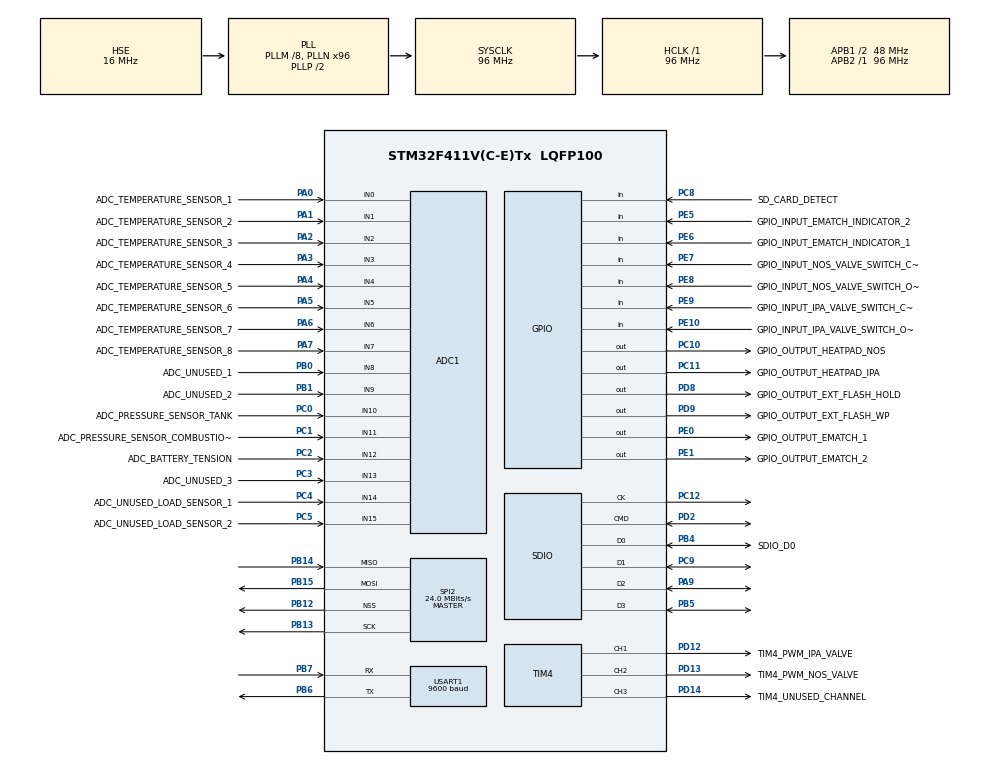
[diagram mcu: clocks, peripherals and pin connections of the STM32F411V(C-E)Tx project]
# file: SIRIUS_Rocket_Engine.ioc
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ADC1.Channel-0\#ChannelRegularConversion=ADC_CHANNEL_0
ADC1.Channel-1\#ChannelRegularConversion=ADC_CHANNEL_1
ADC1.Channel-10\#ChannelRegularConversion=ADC_CHANNEL_10
ADC1.Channel-11\#ChannelRegularConversion=ADC_CHANNEL_11
ADC1.Channel-12\#ChannelRegularConversion=ADC_CHANNEL_12
ADC1.Channel-13\#ChannelRegularConversion=ADC_CHANNEL_13
ADC1.Channel-14\#ChannelRegularConversion=ADC_CHANNEL_14
ADC1.Channel-15\#ChannelRegularConversion=ADC_CHANNEL_15
ADC1.Channel-2\#ChannelRegularConversion=ADC_CHANNEL_2
ADC1.Channel-3\#ChannelRegularConversion=ADC_CHANNEL_3
ADC1.Channel-4\#ChannelRegularConversion=ADC_CHANNEL_4
ADC1.Channel-5\#ChannelRegularConversion=ADC_CHANNEL_5
ADC1.Channel-6\#ChannelRegularConversion=ADC_CHANNEL_6
ADC1.Channel-7\#ChannelRegularConversion=ADC_CHANNEL_7
ADC1.Channel-8\#ChannelRegularConversion=ADC_CHANNEL_8
ADC1.Channel-9\#ChannelRegularConversion=ADC_CHANNEL_9
ADC1.ContinuousConvMode=ENABLE
ADC1.DMAContinuousRequests=ENABLE
ADC1.NbrOfConversion=16
ADC1.NbrOfConversionFlag=1
ADC1.Rank-0\#ChannelRegularConversion=1
ADC1.Rank-1\#ChannelRegularConversion=2
ADC1.Rank-10\#ChannelRegularConversion=11
ADC1.Rank-11\#ChannelRegularConversion=12
ADC1.Rank-12\#ChannelRegularConversion=13
ADC1.Rank-13\#ChannelRegularConversion=14
ADC1.Rank-14\#ChannelRegularConversion=15
ADC1.Rank-15\#ChannelRegularConversion=16
ADC1.Rank-2\#ChannelRegularConversion=3
ADC1.Rank-3\#ChannelRegularConversion=4
ADC1.Rank-4\#ChannelRegularConversion=5
ADC1.Rank-5\#ChannelRegularConversion=6
ADC1.Rank-6\#ChannelRegularConversion=7
ADC1.Rank-7\#ChannelRegularConversion=8
ADC1.Rank-8\#ChannelRegularConversion=9
ADC1.Rank-9\#ChannelRegularConversion=10
ADC1.SamplingTime-0\#ChannelRegularConversion=ADC_SAMPLETIME_144CYCLES
ADC1.SamplingTime-1\#ChannelRegularConversion=ADC_SAMPLETIME_144CYCLES
ADC1.SamplingTime-10\#ChannelRegularConversion=ADC_SAMPLETIME_144CYCLES
ADC1.SamplingTime-11\#ChannelRegularConversion=ADC_SAMPLETIME_144CYCLES
ADC1.SamplingTime-12\#ChannelRegularConversion=ADC_SAMPLETIME_144CYCLES
ADC1.SamplingTime-13\#ChannelRegularConversion=ADC_SAMPLETIME_144CYCLES
ADC1.SamplingTime-14\#ChannelRegularConversion=ADC_SAMPLETIME_144CYCLES
ADC1.SamplingTime-15\#ChannelRegularConversion=ADC_SAMPLETIME_144CYCLES
ADC1.SamplingTime-2\#ChannelRegularConversion=ADC_SAMPLETIME_144CYCLES
ADC1.SamplingTime-3\#ChannelRegularConversion=ADC_SAMPLETIME_144CYCLES
ADC1.SamplingTime-4\#ChannelRegularConversion=ADC_SAMPLETIME_144CYCLES
ADC1.SamplingTime-5\#ChannelRegularConversion=ADC_SAMPLETIME_144CYCLES
ADC1.SamplingTime-6\#ChannelRegularConversion=ADC_SAMPLETIME_144CYCLES
ADC1.SamplingTime-7\#ChannelRegularConversion=ADC_SAMPLETIME_144CYCLES
ADC1.SamplingTime-8\#ChannelRegularConversion=ADC_SAMPLETIME_144CYCLES
ADC1.SamplingTime-9\#ChannelRegularConversion=ADC_SAMPLETIME_144CYCLES
ADC1.ScanConvMode=ENABLE
ADC1.master=1
Dma.ADC1.0.Direction=DMA_PERIPH_TO_MEMORY
Dma.ADC1.0.FIFOMode=DMA_FIFOMODE_DISABLE
Dma.ADC1.0.Instance=DMA2_Stream0
Dma.ADC1.0.MemDataAlignment=DMA_MDATAALIGN_HALFWORD
Dma.ADC1.0.MemInc=DMA_MINC_ENABLE
Dma.ADC1.0.Mode=DMA_CIRCULAR
Dma.ADC1.0.PeriphDataAlignment=DMA_PDATAALIGN_HALFWORD
Dma.ADC1.0.PeriphInc=DMA_PINC_DISABLE
Dma.ADC1.0.Priority=DMA_PRIORITY_HIGH
Dma.Request0=ADC1
Dma.Request1=SDIO_RX
Dma.Request2=SDIO_TX
Dma.Request3=USART1_RX
Dma.Request4=USART1_TX
Dma.SDIO_RX.1.Direction=DMA_PERIPH_TO_MEMORY
Dma.SDIO_RX.1.FIFOMode=DMA_FIFOMODE_ENABLE
Dma.SDIO_RX.1.FIFOThreshold=DMA_FIFO_THRESHOLD_FULL
Dma.SDIO_RX.1.Instance=DMA2_Stream6
Dma.SDIO_RX.1.MemBurst=DMA_MBURST_INC4
Dma.SDIO_RX.1.MemDataAlignment=DMA_MDATAALIGN_WORD
Dma.SDIO_RX.1.MemInc=DMA_MINC_ENABLE
Dma.SDIO_RX.1.Mode=DMA_PFCTRL
Dma.SDIO_RX.1.PeriphBurst=DMA_PBURST_INC4
Dma.SDIO_RX.1.PeriphDataAlignment=DMA_PDATAALIGN_WORD
Dma.SDIO_RX.1.PeriphInc=DMA_PINC_DISABLE
Dma.SDIO_RX.1.Priority=DMA_PRIORITY_LOW
Dma.SDIO_TX.2.Direction=DMA_MEMORY_TO_PERIPH
Dma.SDIO_TX.2.FIFOMode=DMA_FIFOMODE_ENABLE
Dma.SDIO_TX.2.FIFOThreshold=DMA_FIFO_THRESHOLD_FULL
Dma.SDIO_TX.2.Instance=DMA2_Stream3
Dma.SDIO_TX.2.MemBurst=DMA_MBURST_INC4
Dma.SDIO_TX.2.MemDataAlignment=DMA_MDATAALIGN_WORD
Dma.SDIO_TX.2.MemInc=DMA_MINC_ENABLE
Dma.SDIO_TX.2.Mode=DMA_PFCTRL
Dma.SDIO_TX.2.PeriphBurst=DMA_PBURST_INC4
Dma.SDIO_TX.2.PeriphDataAlignment=DMA_PDATAALIGN_WORD
Dma.SDIO_TX.2.PeriphInc=DMA_PINC_DISABLE
Dma.SDIO_TX.2.Priority=DMA_PRIORITY_VERY_HIGH
Dma.USART1_RX.3.Direction=DMA_PERIPH_TO_MEMORY
Dma.USART1_RX.3.FIFOMode=DMA_FIFOMODE_DISABLE
Dma.USART1_RX.3.Instance=DMA2_Stream2
Dma.USART1_RX.3.MemDataAlignment=DMA_MDATAALIGN_BYTE
Dma.USART1_RX.3.MemInc=DMA_MINC_ENABLE
Dma.USART1_RX.3.Mode=DMA_NORMAL
Dma.USART1_RX.3.PeriphDataAlignment=DMA_PDATAALIGN_BYTE
Dma.USART1_RX.3.PeriphInc=DMA_PINC_DISABLE
Dma.USART1_RX.3.Priority=DMA_PRIORITY_VERY_HIGH
Dma.USART1_TX.4.Direction=DMA_MEMORY_TO_PERIPH
Dma.USART1_TX.4.FIFOMode=DMA_FIFOMODE_DISABLE
Dma.USART1_TX.4.Instance=DMA2_Stream7
Dma.USART1_TX.4.MemDataAlignment=DMA_MDATAALIGN_BYTE
Dma.USART1_TX.4.MemInc=DMA_MINC_ENABLE
Dma.USART1_TX.4.Mode=DMA_NORMAL
Dma.USART1_TX.4.PeriphDataAlignment=DMA_PDATAALIGN_BYTE
Dma.USART1_TX.4.PeriphInc=DMA_PINC_DISABLE
Dma.USART1_TX.4.Priority=DMA_PRIORITY_MEDIUM
FATFS.BSP.number=1
FATFS.USE_DMA_CODE_SD=1
FATFS._FS_EXFAT=0
FATFS._FS_LOCK=10
FATFS._FS_TIMEOUT=100
FATFS._MAX_LFN=50
FATFS._MAX_SS=512
FATFS._MIN_SS=512
FATFS._USE_LFN=2
FATFS0.BSP.STBoard=false
FATFS0.BSP.api=Unknown
FATFS0.BSP.instance=PC8
FATFS0.BSP.ip=GPIO
FATFS0.BSP.mode=Input
FATFS0.BSP.name=Detect_SDIO
FATFS0.BSP.solution=PC8
IWDG.Prescaler=IWDG_PRESCALER_256
Mcu.Family=STM32F4
Mcu.Name=STM32F411V(C-E)Tx
Mcu.Package=LQFP100
NVIC.DMA2_Stream0_IRQn=true\:0\:0\:false\:false\:true\:false\:true\:true
NVIC.DMA2_Stream2_IRQn=true\:0\:0\:false\:false\:true\:false\:true\:true
NVIC.DMA2_Stream3_IRQn=true\:0\:0\:false\:false\:true\:false\:true\:true
NVIC.DMA2_Stream6_IRQn=true\:0\:0\:false\:false\:true\:false\:true\:true
NVIC.DMA2_Stream7_IRQn=true\:0\:0\:false\:false\:true\:false\:true\:true
NVIC.PriorityGroup=NVIC_PRIORITYGROUP_4
NVIC.SDIO_IRQn=true\:0\:0\:false\:false\:true\:true\:true\:true
NVIC.USART1_IRQn=true\:0\:0\:false\:false\:true\:true\:true\:true
PA0-WKUP.GPIO_Label=ADC_TEMPERATURE_SENSOR_1
PA0-WKUP.Signal=ADCx_IN0
PA1.GPIO_Label=ADC_TEMPERATURE_SENSOR_2
PA1.Signal=ADCx_IN1
PA13.Mode=Serial_Wire
PA13.Signal=SYS_JTMS-SWDIO
PA14.Mode=Serial_Wire
PA14.Signal=SYS_JTCK-SWCLK
PA2.GPIO_Label=ADC_TEMPERATURE_SENSOR_3
PA2.Signal=ADCx_IN2
PA3.GPIO_Label=ADC_TEMPERATURE_SENSOR_4
PA3.Signal=ADCx_IN3
PA4.GPIO_Label=ADC_TEMPERATURE_SENSOR_5
PA4.Signal=ADCx_IN4
PA5.GPIO_Label=ADC_TEMPERATURE_SENSOR_6
PA5.Signal=ADCx_IN5
PA6.GPIO_Label=ADC_TEMPERATURE_SENSOR_7
PA6.Signal=ADCx_IN6
PA7.GPIO_Label=ADC_TEMPERATURE_SENSOR_8
PA7.Signal=ADCx_IN7
PA9.Mode=SD_4_bits_Wide_bus
PA9.Signal=SDIO_D2
PB0.GPIO_Label=ADC_UNUSED_1
PB0.Signal=ADCx_IN8
PB1.GPIO_Label=ADC_UNUSED_2
PB1.Signal=ADCx_IN9
PB12.Mode=NSS_Signal_Hard_Output
PB12.Signal=SPI2_NSS
PB13.Mode=Full_Duplex_Master
PB13.Signal=SPI2_SCK
PB14.Mode=Full_Duplex_Master
PB14.Signal=SPI2_MISO
PB15.Mode=Full_Duplex_Master
PB15.Signal=SPI2_MOSI
PB4.GPIO_Label=SDIO_D0
PB4.Mode=SD_4_bits_Wide_bus
PB4.Signal=SDIO_D0
PB5.Mode=SD_4_bits_Wide_bus
PB5.Signal=SDIO_D3
PB6.Mode=Asynchronous
PB6.Signal=USART1_TX
PB7.Mode=Asynchronous
PB7.Signal=USART1_RX
PC0.GPIO_Label=ADC_PRESSURE_SENSOR_TANK
PC0.Signal=ADCx_IN10
PC1.GPIO_Label=ADC_PRESSURE_SENSOR_COMBUSTION_CHAMBER
PC1.Signal=ADCx_IN11
PC10.GPIO_Label=GPIO_OUTPUT_HEATPAD_NOS
PC10.Signal=GPIO_Output
PC11.GPIO_Label=GPIO_OUTPUT_HEATPAD_IPA
PC11.Signal=GPIO_Output
PC12.Mode=SD_4_bits_Wide_bus
PC12.Signal=SDIO_CK
PC14-OSC32_IN.Mode=LSE-External-Clock-Source
PC14-OSC32_IN.Signal=RCC_OSC32_IN
PC15-OSC32_OUT.Mode=LSE-External-Clock-Source
PC15-OSC32_OUT.Signal=RCC_OSC32_OUT
PC2.GPIO_Label=ADC_BATTERY_TENSION
PC2.Signal=ADCx_IN12
PC3.GPIO_Label=ADC_UNUSED_3
PC3.Signal=ADCx_IN13
PC4.GPIO_Label=ADC_UNUSED_LOAD_SENSOR_1
PC4.Signal=ADCx_IN14
PC5.GPIO_Label=ADC_UNUSED_LOAD_SENSOR_2
PC5.Signal=ADCx_IN15
PC8.GPIO_Label=SD_CARD_DETECT
PC8.GPIO_PuPd=GPIO_PULLDOWN
PC8.Signal=GPIO_Input
PC9.Mode=SD_4_bits_Wide_bus
PC9.Signal=SDIO_D1
PD12.GPIO_Label=TIM4_PWM_IPA_VALVE
PD12.Signal=S_TIM4_CH1
PD13.GPIO_Label=TIM4_PWM_NOS_VALVE
PD13.Signal=S_TIM4_CH2
PD14.GPIO_Label=TIM4_UNUSED_CHANNEL
PD14.Signal=S_TIM4_CH3
PD2.Mode=SD_4_bits_Wide_bus
PD2.Signal=SDIO_CMD
PD8.GPIO_Label=GPIO_OUTPUT_EXT_FLASH_HOLD
PD8.PinState=GPIO_PIN_SET
PD8.Signal=GPIO_Output
PD9.GPIO_Label=GPIO_OUTPUT_EXT_FLASH_WP
PD9.PinState=GPIO_PIN_SET
PD9.Signal=GPIO_Output
PE0.GPIO_Label=GPIO_OUTPUT_EMATCH_1
PE0.GPIO_PuPd=GPIO_NOPULL
PE0.Signal=GPIO_Output
PE1.GPIO_Label=GPIO_OUTPUT_EMATCH_2
PE1.GPIO_PuPd=GPIO_NOPULL
PE1.Signal=GPIO_Output
PE10.GPIO_Label=GPIO_INPUT_IPA_VALVE_SWITCH_OPENED
PE10.Signal=GPIO_Input
PE5.GPIO_Label=GPIO_INPUT_EMATCH_INDICATOR_2
PE5.Signal=GPIO_Input
PE6.GPIO_Label=GPIO_INPUT_EMATCH_INDICATOR_1
PE6.Signal=GPIO_Input
PE7.GPIO_Label=GPIO_INPUT_NOS_VALVE_SWITCH_CLOSED
PE7.Signal=GPIO_Input
PE8.GPIO_Label=GPIO_INPUT_NOS_VALVE_SWITCH_OPENED
PE8.Signal=GPIO_Input
PE9.GPIO_Label=GPIO_INPUT_IPA_VALVE_SWITCH_CLOSED
PE9.Signal=GPIO_Input
PH0\ -\ OSC_IN.Mode=HSE-External-Oscillator
PH0\ -\ OSC_IN.Signal=RCC_OSC_IN
PH1\ -\ OSC_OUT.Mode=HSE-External-Oscillator
PH1\ -\ OSC_OUT.Signal=RCC_OSC_OUT
ProjectManager.HeapSize=0x1000
ProjectManager.StackSize=0x1800
ProjectManager.TargetToolchain=EWARM V8.50
RCC.48MHZClocksFreq_Value=48000000
RCC.AHBFreq_Value=96000000
RCC.APB1CLKDivider=RCC_HCLK_DIV2
RCC.APB1Freq_Value=48000000
RCC.APB1TimFreq_Value=96000000
RCC.APB2Freq_Value=96000000
RCC.APB2TimFreq_Value=96000000
RCC.CortexFreq_Value=96000000
RCC.HCLKFreq_Value=96000000
RCC.HSE_VALUE=16000000
RCC.HSI_VALUE=16000000
RCC.LSE_VALUE=32768
RCC.PLLM=8
RCC.PLLN=96
RCC.PLLSourceVirtual=RCC_PLLSOURCE_HSE
RCC.SYSCLKFreq_VALUE=96000000
RCC.SYSCLKSource=RCC_SYSCLKSOURCE_PLLCLK
RCC.VCOOutputFreq_Value=192000000
SDIO.ClockDiv=2
SDIO.HardwareFlowControl=SDIO_HARDWARE_FLOW_CONTROL_ENABLE
SH.ADCx_IN0.0=ADC1_IN0,IN0
SH.ADCx_IN1.0=ADC1_IN1,IN1
SH.ADCx_IN10.0=ADC1_IN10,IN10
SH.ADCx_IN11.0=ADC1_IN11,IN11
SH.ADCx_IN12.0=ADC1_IN12,IN12
SH.ADCx_IN13.0=ADC1_IN13,IN13
SH.ADCx_IN14.0=ADC1_IN14,IN14
SH.ADCx_IN15.0=ADC1_IN15,IN15
SH.ADCx_IN2.0=ADC1_IN2,IN2
SH.ADCx_IN3.0=ADC1_IN3,IN3
SH.ADCx_IN4.0=ADC1_IN4,IN4
SH.ADCx_IN5.0=ADC1_IN5,IN5
SH.ADCx_IN6.0=ADC1_IN6,IN6
SH.ADCx_IN7.0=ADC1_IN7,IN7
SH.ADCx_IN8.0=ADC1_IN8,IN8
SH.ADCx_IN9.0=ADC1_IN9,IN9
SH.S_TIM4_CH1.0=TIM4_CH1,PWM Generation1 CH1
SH.S_TIM4_CH2.0=TIM4_CH2,PWM Generation2 CH2
SH.S_TIM4_CH3.0=TIM4_CH3,PWM Generation3 CH3
SPI2.CalculateBaudRate=24.0 MBits/s
SPI2.Direction=SPI_DIRECTION_2LINES
SPI2.Mode=SPI_MODE_MASTER
SPI2.VirtualNSS=VM_NSSHARD
SPI2.VirtualType=VM_MASTER
TIM4.Channel-PWM\ Generation1\ CH1=TIM_CHANNEL_1
TIM4.Channel-PWM\ Generation2\ CH2=TIM_CHANNEL_2
TIM4.Channel-PWM\ Generation3\ CH3=TIM_CHANNEL_3
USART1.BaudRate=9600
USART1.VirtualMode=VM_ASYNC
VP_CRC_VS_CRC.Mode=CRC_Activate
VP_FATFS_VS_SDIO.Mode=SDIO
VP_IWDG_VS_IWDG.Mode=IWDG_Activate
VP_TIM4_VS_ClockSourceINT.Mode=Internal
board=custom

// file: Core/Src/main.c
/* USER CODE BEGIN Header */
/**
  ******************************************************************************
  * @file           : main.c
  * @brief          : Main program body
  ******************************************************************************
  * @attention
  *
  * Copyright (c) 2024 STMicroelectronics.
  * All rights reserved.
  *
  * This software is licensed under terms that can be found in the LICENSE file
  * in the root directory of this software component.
  * If no LICENSE file comes with this software, it is provided AS-IS.
  *
  ******************************************************************************
  */
/* USER CODE END Header */
#include "main.h"
#include "fatfs.h"

/* USER CODE BEGIN Includes */
#include "Engine.h"
/* USER CODE END Includes */

ADC_HandleTypeDef hadc1;
DMA_HandleTypeDef hdma_adc1;

CRC_HandleTypeDef hcrc;

IWDG_HandleTypeDef hiwdg;

SD_HandleTypeDef hsd;
DMA_HandleTypeDef hdma_sdio_rx;
DMA_HandleTypeDef hdma_sdio_tx;

SPI_HandleTypeDef hspi2;

TIM_HandleTypeDef htim4;

UART_HandleTypeDef huart1;
DMA_HandleTypeDef hdma_usart1_rx;
DMA_HandleTypeDef hdma_usart1_tx;

/* USER CODE BEGIN PV */
GPIO gpios[ENGINE_GPIO_AMOUNT] = {0};
ADC12 adc                      = {0};
PWM pwms[ENGINE_PWM_AMOUNT]    = {0};
UART uart                      = {0};

Valve valves[ENGINE_VALVE_AMOUNT]                                      = {0};
Igniter igniters[ENGINE_IGNITER_AMOUNT]                                = {0};
Heater heaters[ENGINE_HEATPAD_AMOUNT]                                  = {0};
PressureSensor pressureSensors[ENGINE_PRESSURE_SENSOR_AMOUNT]          = {0};
TemperatureSensor temperatureSensors[ENGINE_TEMPERATURE_SENSOR_AMOUNT] = {0};
Telecommunication telecomunication[ENGINE_TELECOMMUNICATION_AMOUNT]    = {0};

Storage storageDevices[ENGINE_STORAGE_AMOUNT] = {0};

static volatile EngineSDCardBuffer sdCardBuffer = {0};

/* USER CODE END PV */

void SystemClock_Config(void);
static void MX_GPIO_Init(void);
static void MX_DMA_Init(void);
static void MX_ADC1_Init(void);
static void MX_USART1_UART_Init(void);
static void MX_TIM4_Init(void);
static void MX_SDIO_SD_Init(void);
static void MX_SPI2_Init(void);
static void MX_CRC_Init(void);
static void MX_IWDG_Init(void);
/* USER CODE BEGIN PFP */

static void setupGPIOs();
static void setupPWMs();
static void setupADC();
static void setupUART();

static void setupValves();
static void setupIgniters();
static void setupHeaters();
static void setupTemperatureSensors();
static void setupPressureSensors();
static void setupTelecommunication();
static void setupStorageDevices();

/* USER CODE END PFP */

int main(void)
{

  /* MCU Configuration--------------------------------------------------------*/

  /* Reset of all peripherals, Initializes the Flash interface and the Systick. */
  HAL_Init();

  /* Configure the system clock */
  SystemClock_Config();

  /* Initialize all configured peripherals */
  MX_GPIO_Init();
  MX_DMA_Init();
  MX_ADC1_Init();
  MX_USART1_UART_Init();
  MX_TIM4_Init();
  MX_SDIO_SD_Init();
  MX_SPI2_Init();
  MX_FATFS_Init();
  MX_CRC_Init();
  MX_IWDG_Init();
  /* USER CODE BEGIN 2 */

  // Setup Peripherals
  setupADC();
  setupPWMs();
  setupGPIOs();
  setupUART();

  // Setup Sensors/Devices
  setupValves();
  setupIgniters();
  setupHeaters();
  setupPressureSensors();
  setupTemperatureSensors();
  setupTelecommunication();
  setupStorageDevices();

  Engine_init(pwms, &adc, gpios, &uart, valves, heaters, igniters, temperatureSensors, telecomunication, storageDevices, &sdCardBuffer, &hcrc);
  /* USER CODE END 2 */

  /* Infinite loop */
  /* USER CODE BEGIN WHILE */

  while (1)
  {
    HAL_IWDG_Refresh(&hiwdg);

    Engine_tick(HAL_GetTick());
    /* USER CODE END WHILE */

  }
}

void SystemClock_Config(void)
{
  RCC_OscInitTypeDef RCC_OscInitStruct = {0};
  RCC_ClkInitTypeDef RCC_ClkInitStruct = {0};

  /** Configure the main internal regulator output voltage
  */
  __HAL_RCC_PWR_CLK_ENABLE();
  __HAL_PWR_VOLTAGESCALING_CONFIG(PWR_REGULATOR_VOLTAGE_SCALE1);

  /** Initializes the RCC Oscillators according to the specified parameters
  * in the RCC_OscInitTypeDef structure.
  */
  RCC_OscInitStruct.OscillatorType = RCC_OSCILLATORTYPE_LSI|RCC_OSCILLATORTYPE_HSE;
  RCC_OscInitStruct.HSEState = RCC_HSE_ON;
  RCC_OscInitStruct.LSIState = RCC_LSI_ON;
  RCC_OscInitStruct.PLL.PLLState = RCC_PLL_ON;
  RCC_OscInitStruct.PLL.PLLSource = RCC_PLLSOURCE_HSE;
  RCC_OscInitStruct.PLL.PLLM = 8;
  RCC_OscInitStruct.PLL.PLLN = 96;
  RCC_OscInitStruct.PLL.PLLP = RCC_PLLP_DIV2;
  RCC_OscInitStruct.PLL.PLLQ = 4;
  if (HAL_RCC_OscConfig(&RCC_OscInitStruct) != HAL_OK)
  {
    Error_Handler();
  }

  /** Initializes the CPU, AHB and APB buses clocks
  */
  RCC_ClkInitStruct.ClockType = RCC_CLOCKTYPE_HCLK|RCC_CLOCKTYPE_SYSCLK
                              |RCC_CLOCKTYPE_PCLK1|RCC_CLOCKTYPE_PCLK2;
  RCC_ClkInitStruct.SYSCLKSource = RCC_SYSCLKSOURCE_PLLCLK;
  RCC_ClkInitStruct.AHBCLKDivider = RCC_SYSCLK_DIV1;
  RCC_ClkInitStruct.APB1CLKDivider = RCC_HCLK_DIV2;
  RCC_ClkInitStruct.APB2CLKDivider = RCC_HCLK_DIV1;

  if (HAL_RCC_ClockConfig(&RCC_ClkInitStruct, FLASH_LATENCY_3) != HAL_OK)
  {
    Error_Handler();
  }
}

static void MX_ADC1_Init(void)
{

  ADC_ChannelConfTypeDef sConfig = {0};

  /** Configure the global features of the ADC (Clock, Resolution, Data Alignment and number of conversion)
  */
  hadc1.Instance = ADC1;
  hadc1.Init.ClockPrescaler = ADC_CLOCK_SYNC_PCLK_DIV4;
  hadc1.Init.Resolution = ADC_RESOLUTION_12B;
  hadc1.Init.ScanConvMode = ENABLE;
  hadc1.Init.ContinuousConvMode = ENABLE;
  hadc1.Init.DiscontinuousConvMode = DISABLE;
  hadc1.Init.ExternalTrigConvEdge = ADC_EXTERNALTRIGCONVEDGE_NONE;
  hadc1.Init.ExternalTrigConv = ADC_SOFTWARE_START;
  hadc1.Init.DataAlign = ADC_DATAALIGN_RIGHT;
  hadc1.Init.NbrOfConversion = 16;
  hadc1.Init.DMAContinuousRequests = ENABLE;
  hadc1.Init.EOCSelection = ADC_EOC_SINGLE_CONV;
  if (HAL_ADC_Init(&hadc1) != HAL_OK)
  {
    Error_Handler();
  }

  /** Configure for the selected ADC regular channel its corresponding rank in the sequencer and its sample time.
  */
  sConfig.Channel = ADC_CHANNEL_0;
  sConfig.Rank = 1;
  sConfig.SamplingTime = ADC_SAMPLETIME_144CYCLES;
  if (HAL_ADC_ConfigChannel(&hadc1, &sConfig) != HAL_OK)
  {
    Error_Handler();
  }

  /** Configure for the selected ADC regular channel its corresponding rank in the sequencer and its sample time.
  */
  sConfig.Channel = ADC_CHANNEL_1;
  sConfig.Rank = 2;
  if (HAL_ADC_ConfigChannel(&hadc1, &sConfig) != HAL_OK)
  {
    Error_Handler();
  }

  /** Configure for the selected ADC regular channel its corresponding rank in the sequencer and its sample time.
  */
  sConfig.Channel = ADC_CHANNEL_2;
  sConfig.Rank = 3;
  if (HAL_ADC_ConfigChannel(&hadc1, &sConfig) != HAL_OK)
  {
    Error_Handler();
  }

  /** Configure for the selected ADC regular channel its corresponding rank in the sequencer and its sample time.
  */
  sConfig.Channel = ADC_CHANNEL_3;
  sConfig.Rank = 4;
  if (HAL_ADC_ConfigChannel(&hadc1, &sConfig) != HAL_OK)
  {
    Error_Handler();
  }

  /** Configure for the selected ADC regular channel its corresponding rank in the sequencer and its sample time.
  */
  sConfig.Channel = ADC_CHANNEL_4;
  sConfig.Rank = 5;
  if (HAL_ADC_ConfigChannel(&hadc1, &sConfig) != HAL_OK)
  {
    Error_Handler();
  }

  /** Configure for the selected ADC regular channel its corresponding rank in the sequencer and its sample time.
  */
  sConfig.Channel = ADC_CHANNEL_5;
  sConfig.Rank = 6;
  if (HAL_ADC_ConfigChannel(&hadc1, &sConfig) != HAL_OK)
  {
    Error_Handler();
  }

  /** Configure for the selected ADC regular channel its corresponding rank in the sequencer and its sample time.
  */
  sConfig.Channel = ADC_CHANNEL_6;
  sConfig.Rank = 7;
  if (HAL_ADC_ConfigChannel(&hadc1, &sConfig) != HAL_OK)
  {
    Error_Handler();
  }

  /** Configure for the selected ADC regular channel its corresponding rank in the sequencer and its sample time.
  */
  sConfig.Channel = ADC_CHANNEL_7;
  sConfig.Rank = 8;
  if (HAL_ADC_ConfigChannel(&hadc1, &sConfig) != HAL_OK)
  {
    Error_Handler();
  }

  /** Configure for the selected ADC regular channel its corresponding rank in the sequencer and its sample time.
  */
  sConfig.Channel = ADC_CHANNEL_8;
  sConfig.Rank = 9;
  if (HAL_ADC_ConfigChannel(&hadc1, &sConfig) != HAL_OK)
  {
    Error_Handler();
  }

  /** Configure for the selected ADC regular channel its corresponding rank in the sequencer and its sample time.
  */
  sConfig.Channel = ADC_CHANNEL_9;
  sConfig.Rank = 10;
  if (HAL_ADC_ConfigChannel(&hadc1, &sConfig) != HAL_OK)
  {
    Error_Handler();
  }

  /** Configure for the selected ADC regular channel its corresponding rank in the sequencer and its sample time.
  */
  sConfig.Channel = ADC_CHANNEL_10;
  sConfig.Rank = 11;
  if (HAL_ADC_ConfigChannel(&hadc1, &sConfig) != HAL_OK)
  {
    Error_Handler();
  }

  /** Configure for the selected ADC regular channel its corresponding rank in the sequencer and its sample time.
  */
  sConfig.Channel = ADC_CHANNEL_11;
  sConfig.Rank = 12;
  if (HAL_ADC_ConfigChannel(&hadc1, &sConfig) != HAL_OK)
  {
    Error_Handler();
  }

  /** Configure for the selected ADC regular channel its corresponding rank in the sequencer and its sample time.
  */
  sConfig.Channel = ADC_CHANNEL_12;
  sConfig.Rank = 13;
  if (HAL_ADC_ConfigChannel(&hadc1, &sConfig) != HAL_OK)
  {
    Error_Handler();
  }

  /** Configure for the selected ADC regular channel its corresponding rank in the sequencer and its sample time.
  */
  sConfig.Channel = ADC_CHANNEL_13;
  sConfig.Rank = 14;
  if (HAL_ADC_ConfigChannel(&hadc1, &sConfig) != HAL_OK)
  {
    Error_Handler();
  }

  /** Configure for the selected ADC regular channel its corresponding rank in the sequencer and its sample time.
  */
  sConfig.Channel = ADC_CHANNEL_14;
  sConfig.Rank = 15;
  if (HAL_ADC_ConfigChannel(&hadc1, &sConfig) != HAL_OK)
  {
    Error_Handler();
  }

  /** Configure for the selected ADC regular channel its corresponding rank in the sequencer and its sample time.
  */
  sConfig.Channel = ADC_CHANNEL_15;
  sConfig.Rank = 16;
  if (HAL_ADC_ConfigChannel(&hadc1, &sConfig) != HAL_OK)
  {
    Error_Handler();
  }

}

static void MX_CRC_Init(void)
{

  hcrc.Instance = CRC;
  if (HAL_CRC_Init(&hcrc) != HAL_OK)
  {
    Error_Handler();
  }

}

static void MX_IWDG_Init(void)
{

  hiwdg.Instance = IWDG;
  hiwdg.Init.Prescaler = IWDG_PRESCALER_256;
  hiwdg.Init.Reload = 4095;
  if (HAL_IWDG_Init(&hiwdg) != HAL_OK)
  {
    Error_Handler();
  }

}

static void MX_SDIO_SD_Init(void)
{

  hsd.Instance = SDIO;
  hsd.Init.ClockEdge = SDIO_CLOCK_EDGE_RISING;
  hsd.Init.ClockBypass = SDIO_CLOCK_BYPASS_DISABLE;
  hsd.Init.ClockPowerSave = SDIO_CLOCK_POWER_SAVE_DISABLE;
  hsd.Init.BusWide = SDIO_BUS_WIDE_4B;
  hsd.Init.HardwareFlowControl = SDIO_HARDWARE_FLOW_CONTROL_ENABLE;
  hsd.Init.ClockDiv = 2;
  /* USER CODE BEGIN SDIO_Init 2 */

  hsd.Init.BusWide = SDIO_BUS_WIDE_1B;
  if (HAL_SD_Init(&hsd) != HAL_OK) {
    Error_Handler();
  }

  if (HAL_SD_ConfigWideBusOperation(&hsd, SDIO_BUS_WIDE_4B) != HAL_OK) {
    Error_Handler();
  }
  /* USER CODE END SDIO_Init 2 */

}

static void MX_SPI2_Init(void)
{

  /* SPI2 parameter configuration*/
  hspi2.Instance = SPI2;
  hspi2.Init.Mode = SPI_MODE_MASTER;
  hspi2.Init.Direction = SPI_DIRECTION_2LINES;
  hspi2.Init.DataSize = SPI_DATASIZE_8BIT;
  hspi2.Init.CLKPolarity = SPI_POLARITY_LOW;
  hspi2.Init.CLKPhase = SPI_PHASE_1EDGE;
  hspi2.Init.NSS = SPI_NSS_HARD_OUTPUT;
  hspi2.Init.BaudRatePrescaler = SPI_BAUDRATEPRESCALER_2;
  hspi2.Init.FirstBit = SPI_FIRSTBIT_MSB;
  hspi2.Init.TIMode = SPI_TIMODE_DISABLE;
  hspi2.Init.CRCCalculation = SPI_CRCCALCULATION_DISABLE;
  hspi2.Init.CRCPolynomial = 10;
  if (HAL_SPI_Init(&hspi2) != HAL_OK)
  {
    Error_Handler();
  }

}

static void MX_TIM4_Init(void)
{

  TIM_ClockConfigTypeDef sClockSourceConfig = {0};
  TIM_MasterConfigTypeDef sMasterConfig = {0};
  TIM_OC_InitTypeDef sConfigOC = {0};

  htim4.Instance = TIM4;
  htim4.Init.Prescaler = 0;
  htim4.Init.CounterMode = TIM_COUNTERMODE_UP;
  htim4.Init.Period = 65535;
  htim4.Init.ClockDivision = TIM_CLOCKDIVISION_DIV1;
  htim4.Init.AutoReloadPreload = TIM_AUTORELOAD_PRELOAD_DISABLE;
  if (HAL_TIM_Base_Init(&htim4) != HAL_OK)
  {
    Error_Handler();
  }
  sClockSourceConfig.ClockSource = TIM_CLOCKSOURCE_INTERNAL;
  if (HAL_TIM_ConfigClockSource(&htim4, &sClockSourceConfig) != HAL_OK)
  {
    Error_Handler();
  }
  if (HAL_TIM_PWM_Init(&htim4) != HAL_OK)
  {
    Error_Handler();
  }
  sMasterConfig.MasterOutputTrigger = TIM_TRGO_RESET;
  sMasterConfig.MasterSlaveMode = TIM_MASTERSLAVEMODE_DISABLE;
  if (HAL_TIMEx_MasterConfigSynchronization(&htim4, &sMasterConfig) != HAL_OK)
  {
    Error_Handler();
  }
  sConfigOC.OCMode = TIM_OCMODE_PWM1;
  sConfigOC.Pulse = 0;
  sConfigOC.OCPolarity = TIM_OCPOLARITY_HIGH;
  sConfigOC.OCFastMode = TIM_OCFAST_DISABLE;
  if (HAL_TIM_PWM_ConfigChannel(&htim4, &sConfigOC, TIM_CHANNEL_1) != HAL_OK)
  {
    Error_Handler();
  }
  if (HAL_TIM_PWM_ConfigChannel(&htim4, &sConfigOC, TIM_CHANNEL_2) != HAL_OK)
  {
    Error_Handler();
  }
  if (HAL_TIM_PWM_ConfigChannel(&htim4, &sConfigOC, TIM_CHANNEL_3) != HAL_OK)
  {
    Error_Handler();
  }
  HAL_TIM_MspPostInit(&htim4);

}

static void MX_USART1_UART_Init(void)
{

  huart1.Instance = USART1;
  huart1.Init.BaudRate = 9600;
  huart1.Init.WordLength = UART_WORDLENGTH_8B;
  huart1.Init.StopBits = UART_STOPBITS_1;
  huart1.Init.Parity = UART_PARITY_NONE;
  huart1.Init.Mode = UART_MODE_TX_RX;
  huart1.Init.HwFlowCtl = UART_HWCONTROL_NONE;
  huart1.Init.OverSampling = UART_OVERSAMPLING_16;
  if (HAL_UART_Init(&huart1) != HAL_OK)
  {
    Error_Handler();
  }

}

static void MX_DMA_Init(void)
{

  /* DMA controller clock enable */
  __HAL_RCC_DMA2_CLK_ENABLE();

  /* DMA interrupt init */
  /* DMA2_Stream0_IRQn interrupt configuration */
  HAL_NVIC_SetPriority(DMA2_Stream0_IRQn, 0, 0);
  HAL_NVIC_EnableIRQ(DMA2_Stream0_IRQn);
  /* DMA2_Stream2_IRQn interrupt configuration */
  HAL_NVIC_SetPriority(DMA2_Stream2_IRQn, 0, 0);
  HAL_NVIC_EnableIRQ(DMA2_Stream2_IRQn);
  /* DMA2_Stream3_IRQn interrupt configuration */
  HAL_NVIC_SetPriority(DMA2_Stream3_IRQn, 0, 0);
  HAL_NVIC_EnableIRQ(DMA2_Stream3_IRQn);
  /* DMA2_Stream6_IRQn interrupt configuration */
  HAL_NVIC_SetPriority(DMA2_Stream6_IRQn, 0, 0);
  HAL_NVIC_EnableIRQ(DMA2_Stream6_IRQn);
  /* DMA2_Stream7_IRQn interrupt configuration */
  HAL_NVIC_SetPriority(DMA2_Stream7_IRQn, 0, 0);
  HAL_NVIC_EnableIRQ(DMA2_Stream7_IRQn);

}

static void MX_GPIO_Init(void)
{
  GPIO_InitTypeDef GPIO_InitStruct = {0};

  /* GPIO Ports Clock Enable */
  __HAL_RCC_GPIOE_CLK_ENABLE();
  __HAL_RCC_GPIOC_CLK_ENABLE();
  __HAL_RCC_GPIOH_CLK_ENABLE();
  __HAL_RCC_GPIOA_CLK_ENABLE();
  __HAL_RCC_GPIOB_CLK_ENABLE();
  __HAL_RCC_GPIOD_CLK_ENABLE();

  /*Configure GPIO pin Output Level */
  HAL_GPIO_WritePin(GPIOD, GPIO_OUTPUT_EXT_FLASH_HOLD_Pin|GPIO_OUTPUT_EXT_FLASH_WP_Pin, GPIO_PIN_SET);

  /*Configure GPIO pin Output Level */
  HAL_GPIO_WritePin(GPIOC, GPIO_OUTPUT_HEATPAD_NOS_Pin|GPIO_OUTPUT_HEATPAD_IPA_Pin, GPIO_PIN_RESET);

  /*Configure GPIO pin Output Level */
  HAL_GPIO_WritePin(GPIOE, GPIO_OUTPUT_EMATCH_1_Pin|GPIO_OUTPUT_EMATCH_2_Pin, GPIO_PIN_RESET);

  /*Configure GPIO pins : GPIO_INPUT_EMATCH_INDICATOR_2_Pin GPIO_INPUT_EMATCH_INDICATOR_1_Pin GPIO_INPUT_NOS_VALVE_SWITCH_CLOSED_Pin GPIO_INPUT_NOS_VALVE_SWITCH_OPENED_Pin
                           GPIO_INPUT_IPA_VALVE_SWITCH_CLOSED_Pin GPIO_INPUT_IPA_VALVE_SWITCH_OPENED_Pin */
  GPIO_InitStruct.Pin = GPIO_INPUT_EMATCH_INDICATOR_2_Pin|GPIO_INPUT_EMATCH_INDICATOR_1_Pin|GPIO_INPUT_NOS_VALVE_SWITCH_CLOSED_Pin|GPIO_INPUT_NOS_VALVE_SWITCH_OPENED_Pin
                          |GPIO_INPUT_IPA_VALVE_SWITCH_CLOSED_Pin|GPIO_INPUT_IPA_VALVE_SWITCH_OPENED_Pin;
  GPIO_InitStruct.Mode = GPIO_MODE_INPUT;
  GPIO_InitStruct.Pull = GPIO_NOPULL;
  HAL_GPIO_Init(GPIOE, &GPIO_InitStruct);

  /*Configure GPIO pins : GPIO_OUTPUT_EXT_FLASH_HOLD_Pin GPIO_OUTPUT_EXT_FLASH_WP_Pin */
  GPIO_InitStruct.Pin = GPIO_OUTPUT_EXT_FLASH_HOLD_Pin|GPIO_OUTPUT_EXT_FLASH_WP_Pin;
  GPIO_InitStruct.Mode = GPIO_MODE_OUTPUT_PP;
  GPIO_InitStruct.Pull = GPIO_NOPULL;
  GPIO_InitStruct.Speed = GPIO_SPEED_FREQ_LOW;
  HAL_GPIO_Init(GPIOD, &GPIO_InitStruct);

  /*Configure GPIO pin : SD_CARD_DETECT_Pin */
  GPIO_InitStruct.Pin = SD_CARD_DETECT_Pin;
  GPIO_InitStruct.Mode = GPIO_MODE_INPUT;
  GPIO_InitStruct.Pull = GPIO_PULLDOWN;
  HAL_GPIO_Init(SD_CARD_DETECT_GPIO_Port, &GPIO_InitStruct);

  /*Configure GPIO pins : GPIO_OUTPUT_HEATPAD_NOS_Pin GPIO_OUTPUT_HEATPAD_IPA_Pin */
  GPIO_InitStruct.Pin = GPIO_OUTPUT_HEATPAD_NOS_Pin|GPIO_OUTPUT_HEATPAD_IPA_Pin;
  GPIO_InitStruct.Mode = GPIO_MODE_OUTPUT_PP;
  GPIO_InitStruct.Pull = GPIO_NOPULL;
  GPIO_InitStruct.Speed = GPIO_SPEED_FREQ_LOW;
  HAL_GPIO_Init(GPIOC, &GPIO_InitStruct);

  /*Configure GPIO pins : GPIO_OUTPUT_EMATCH_1_Pin GPIO_OUTPUT_EMATCH_2_Pin */
  GPIO_InitStruct.Pin = GPIO_OUTPUT_EMATCH_1_Pin|GPIO_OUTPUT_EMATCH_2_Pin;
  GPIO_InitStruct.Mode = GPIO_MODE_OUTPUT_PP;
  GPIO_InitStruct.Pull = GPIO_NOPULL;
  GPIO_InitStruct.Speed = GPIO_SPEED_FREQ_LOW;
  HAL_GPIO_Init(GPIOE, &GPIO_InitStruct);

}

/* USER CODE BEGIN 4 */

uint8_t BSP_SD_IsDetected(void) {
  __IO uint8_t status = SD_PRESENT;

  return status;
}

// These should only link HAL to instance and set base function pointers

void setupGPIOs() {
  gpios[ENGINE_IGNITER_1_GPIO_INDEX].errorStatus.bits.notInitialized = 1;
  gpios[ENGINE_IGNITER_1_GPIO_INDEX].externalHandle = GPIOE;
  gpios[ENGINE_IGNITER_1_GPIO_INDEX].pinNumber = GPIO_PIN_0;
  gpios[ENGINE_IGNITER_1_GPIO_INDEX].mode = GPIO_OUTPUT_MODE;
  gpios[ENGINE_IGNITER_1_GPIO_INDEX].init = (GPIO_init)GPIOHAL_init;

  gpios[ENGINE_IGNITER_2_GPIO_INDEX].errorStatus.bits.notInitialized = 1;
  gpios[ENGINE_IGNITER_2_GPIO_INDEX].externalHandle = GPIOE;
  gpios[ENGINE_IGNITER_2_GPIO_INDEX].pinNumber = GPIO_PIN_1;
  gpios[ENGINE_IGNITER_2_GPIO_INDEX].mode = GPIO_OUTPUT_MODE;
  gpios[ENGINE_IGNITER_2_GPIO_INDEX].init = (GPIO_init)GPIOHAL_init;

  gpios[ENGINE_NOS_VALVE_CLOSED_GPIO_INDEX].errorStatus.bits.notInitialized = 1;
  gpios[ENGINE_NOS_VALVE_CLOSED_GPIO_INDEX].externalHandle = GPIOE;
  gpios[ENGINE_NOS_VALVE_CLOSED_GPIO_INDEX].pinNumber = GPIO_PIN_10;
  gpios[ENGINE_NOS_VALVE_CLOSED_GPIO_INDEX].mode = GPIO_INPUT_MODE;
  gpios[ENGINE_NOS_VALVE_CLOSED_GPIO_INDEX].init = (GPIO_init)GPIOHAL_init;

  gpios[ENGINE_NOS_VALVE_OPENED_GPIO_INDEX].errorStatus.bits.notInitialized = 1;
  gpios[ENGINE_NOS_VALVE_OPENED_GPIO_INDEX].externalHandle = GPIOE;
  gpios[ENGINE_NOS_VALVE_OPENED_GPIO_INDEX].pinNumber = GPIO_PIN_9;
  gpios[ENGINE_NOS_VALVE_OPENED_GPIO_INDEX].mode = GPIO_INPUT_MODE;
  gpios[ENGINE_NOS_VALVE_OPENED_GPIO_INDEX].init = (GPIO_init)GPIOHAL_init;

  gpios[ENGINE_IPA_VALVE_CLOSED_GPIO_INDEX].errorStatus.bits.notInitialized = 1;
  gpios[ENGINE_IPA_VALVE_CLOSED_GPIO_INDEX].externalHandle = GPIOE;
  gpios[ENGINE_IPA_VALVE_CLOSED_GPIO_INDEX].pinNumber = GPIO_PIN_7;
  gpios[ENGINE_IPA_VALVE_CLOSED_GPIO_INDEX].mode = GPIO_INPUT_MODE;
  gpios[ENGINE_IPA_VALVE_CLOSED_GPIO_INDEX].init = (GPIO_init)GPIOHAL_init;

  gpios[ENGINE_IPA_VALVE_OPENED_GPIO_INDEX].errorStatus.bits.notInitialized = 1;
  gpios[ENGINE_IPA_VALVE_OPENED_GPIO_INDEX].externalHandle = GPIOE;
  gpios[ENGINE_IPA_VALVE_OPENED_GPIO_INDEX].pinNumber = GPIO_PIN_8;
  gpios[ENGINE_IPA_VALVE_OPENED_GPIO_INDEX].mode = GPIO_INPUT_MODE;
  gpios[ENGINE_IPA_VALVE_OPENED_GPIO_INDEX].init = (GPIO_init)GPIOHAL_init;

  gpios[ENGINE_IGNITER_1_GPIO_INDEX].errorStatus.bits.notInitialized = 1;
  gpios[ENGINE_IGNITER_1_GPIO_INDEX].externalHandle = GPIOE;
  gpios[ENGINE_IGNITER_1_GPIO_INDEX].pinNumber = GPIO_PIN_0;
  gpios[ENGINE_IGNITER_1_GPIO_INDEX].mode = GPIO_OUTPUT_MODE;
  gpios[ENGINE_IGNITER_1_GPIO_INDEX].init = (GPIO_init)GPIOHAL_init;

  gpios[ENGINE_IGNITER_2_GPIO_INDEX].errorStatus.bits.notInitialized = 1;
  gpios[ENGINE_IGNITER_2_GPIO_INDEX].externalHandle = GPIOE;
  gpios[ENGINE_IGNITER_2_GPIO_INDEX].pinNumber = GPIO_PIN_1;
  gpios[ENGINE_IGNITER_2_GPIO_INDEX].mode = GPIO_OUTPUT_MODE;
  gpios[ENGINE_IGNITER_2_GPIO_INDEX].init = (GPIO_init)GPIOHAL_init;

  gpios[ENGINE_NOS_HEATPAD_GPIO_INDEX].errorStatus.bits.notInitialized = 1;
  gpios[ENGINE_NOS_HEATPAD_GPIO_INDEX].externalHandle = GPIOC;
  gpios[ENGINE_NOS_HEATPAD_GPIO_INDEX].pinNumber = GPIO_PIN_10;
  gpios[ENGINE_NOS_HEATPAD_GPIO_INDEX].mode = GPIO_OUTPUT_MODE;
  gpios[ENGINE_NOS_HEATPAD_GPIO_INDEX].init = (GPIO_init)GPIOHAL_init;

  gpios[ENGINE_IPA_HEATPAD_GPIO_INDEX].errorStatus.bits.notInitialized = 1;
  gpios[ENGINE_IPA_HEATPAD_GPIO_INDEX].externalHandle = GPIOC;
  gpios[ENGINE_IPA_HEATPAD_GPIO_INDEX].pinNumber = GPIO_PIN_11;
  gpios[ENGINE_IPA_HEATPAD_GPIO_INDEX].mode = GPIO_OUTPUT_MODE;
  gpios[ENGINE_IPA_HEATPAD_GPIO_INDEX].init = (GPIO_init)GPIOHAL_init;
}

void setupPWMs() {
  pwms[ENGINE_IPA_VALVE_PWM_INDEX].errorStatus.bits.notInitialized = 1;
  pwms[ENGINE_IPA_VALVE_PWM_INDEX].init = (PWM_init)PWMHAL_init;
  pwms[ENGINE_IPA_VALVE_PWM_INDEX].externalHandle = &htim4;
  pwms[ENGINE_IPA_VALVE_PWM_INDEX].timer = TIM4;
  pwms[ENGINE_IPA_VALVE_PWM_INDEX].channel = TIM_CHANNEL_2;

  pwms[ENGINE_NOS_VALVE_PWM_INDEX].errorStatus.bits.notInitialized = 1;
  pwms[ENGINE_NOS_VALVE_PWM_INDEX].init = (PWM_init)PWMHAL_init;
  pwms[ENGINE_NOS_VALVE_PWM_INDEX].externalHandle = &htim4;
  pwms[ENGINE_NOS_VALVE_PWM_INDEX].timer = TIM4;
  pwms[ENGINE_NOS_VALVE_PWM_INDEX].channel = TIM_CHANNEL_3;
}

void setupADC() {
  adc.errorStatus.bits.notInitialized = 1;
  adc.init = (ADC12_init)ADC12HAL_init;
  adc.externalHandle = &hadc1;

  adc.channels[ENGINE_IPA_MAIN_VALVE_THERMISTANCE_ADC_CHANNEL_INDEX].errorStatus.bits.notInitialized = 1;
  adc.channels[ENGINE_IPA_MAIN_VALVE_THERMISTANCE_ADC_CHANNEL_INDEX].init = (ADC12Channel_init)ADC12ChannelHAL_init;
  adc.channels[ENGINE_IPA_MAIN_VALVE_THERMISTANCE_ADC_CHANNEL_INDEX].rank = 1;
  adc.channels[ENGINE_IPA_MAIN_VALVE_THERMISTANCE_ADC_CHANNEL_INDEX].sampleTime_adcClockCyles = ADC_SAMPLETIME_28CYCLES;
  adc.channels[ENGINE_IPA_MAIN_VALVE_THERMISTANCE_ADC_CHANNEL_INDEX].channelNumber = 0;

  adc.channels[ENGINE_NOS_MAIN_VALVE_THERMISTANCE_ADC_CHANNEL_INDEX].errorStatus.bits.notInitialized = 1;
  adc.channels[ENGINE_NOS_MAIN_VALVE_THERMISTANCE_ADC_CHANNEL_INDEX].init = (ADC12Channel_init)ADC12ChannelHAL_init;
  adc.channels[ENGINE_NOS_MAIN_VALVE_THERMISTANCE_ADC_CHANNEL_INDEX].rank = 2;
  adc.channels[ENGINE_NOS_MAIN_VALVE_THERMISTANCE_ADC_CHANNEL_INDEX].sampleTime_adcClockCyles = ADC_SAMPLETIME_28CYCLES;
  adc.channels[ENGINE_NOS_MAIN_VALVE_THERMISTANCE_ADC_CHANNEL_INDEX].channelNumber = 1;

  adc.channels[ENGINE_NOZZLE_1_THERMISTANCE_ADC_CHANNEL_INDEX].errorStatus.bits.notInitialized = 1;
  adc.channels[ENGINE_NOZZLE_1_THERMISTANCE_ADC_CHANNEL_INDEX].init = (ADC12Channel_init)ADC12ChannelHAL_init;
  adc.channels[ENGINE_NOZZLE_1_THERMISTANCE_ADC_CHANNEL_INDEX].rank = 3;
  adc.channels[ENGINE_NOZZLE_1_THERMISTANCE_ADC_CHANNEL_INDEX].sampleTime_adcClockCyles = ADC_SAMPLETIME_28CYCLES;
  adc.channels[ENGINE_NOZZLE_1_THERMISTANCE_ADC_CHANNEL_INDEX].channelNumber = 2;

  adc.channels[ENGINE_NOZZLE_2_THERMISTANCE_ADC_CHANNEL_INDEX].errorStatus.bits.notInitialized = 1;
  adc.channels[ENGINE_NOZZLE_2_THERMISTANCE_ADC_CHANNEL_INDEX].init = (ADC12Channel_init)ADC12ChannelHAL_init;
  adc.channels[ENGINE_NOZZLE_2_THERMISTANCE_ADC_CHANNEL_INDEX].rank = 4;
  adc.channels[ENGINE_NOZZLE_2_THERMISTANCE_ADC_CHANNEL_INDEX].sampleTime_adcClockCyles = ADC_SAMPLETIME_28CYCLES;
  adc.channels[ENGINE_NOZZLE_2_THERMISTANCE_ADC_CHANNEL_INDEX].channelNumber = 3;

  adc.channels[ENGINE_THROAT_1_THERMISTANCE_ADC_CHANNEL_INDEX].errorStatus.bits.notInitialized = 1;
  adc.channels[ENGINE_THROAT_1_THERMISTANCE_ADC_CHANNEL_INDEX].init = (ADC12Channel_init)ADC12ChannelHAL_init;
  adc.channels[ENGINE_THROAT_1_THERMISTANCE_ADC_CHANNEL_INDEX].rank = 5;
  adc.channels[ENGINE_THROAT_1_THERMISTANCE_ADC_CHANNEL_INDEX].sampleTime_adcClockCyles = ADC_SAMPLETIME_28CYCLES;
  adc.channels[ENGINE_THROAT_1_THERMISTANCE_ADC_CHANNEL_INDEX].channelNumber = 4;

  adc.channels[ENGINE_THROAT_2_THERMISTANCE_ADC_CHANNEL_INDEX].errorStatus.bits.notInitialized = 1;
  adc.channels[ENGINE_THROAT_2_THERMISTANCE_ADC_CHANNEL_INDEX].init = (ADC12Channel_init)ADC12ChannelHAL_init;
  adc.channels[ENGINE_THROAT_2_THERMISTANCE_ADC_CHANNEL_INDEX].rank = 6;
  adc.channels[ENGINE_THROAT_2_THERMISTANCE_ADC_CHANNEL_INDEX].sampleTime_adcClockCyles = ADC_SAMPLETIME_28CYCLES;
  adc.channels[ENGINE_THROAT_2_THERMISTANCE_ADC_CHANNEL_INDEX].channelNumber = 5;

  adc.channels[ENGINE_THROAT_3_THERMISTANCE_ADC_CHANNEL_INDEX].errorStatus.bits.notInitialized = 1;
  adc.channels[ENGINE_THROAT_3_THERMISTANCE_ADC_CHANNEL_INDEX].init = (ADC12Channel_init)ADC12ChannelHAL_init;
  adc.channels[ENGINE_THROAT_3_THERMISTANCE_ADC_CHANNEL_INDEX].rank = 7;
  adc.channels[ENGINE_THROAT_3_THERMISTANCE_ADC_CHANNEL_INDEX].sampleTime_adcClockCyles = ADC_SAMPLETIME_28CYCLES;
  adc.channels[ENGINE_THROAT_3_THERMISTANCE_ADC_CHANNEL_INDEX].channelNumber = 6;

  adc.channels[ENGINE_THERMISTANCE_8_ADC_CHANNEL_INDEX].errorStatus.bits.notInitialized = 1;
  adc.channels[ENGINE_THERMISTANCE_8_ADC_CHANNEL_INDEX].init = (ADC12Channel_init)ADC12ChannelHAL_init;
  adc.channels[ENGINE_THERMISTANCE_8_ADC_CHANNEL_INDEX].rank = 8;
  adc.channels[ENGINE_THERMISTANCE_8_ADC_CHANNEL_INDEX].sampleTime_adcClockCyles = ADC_SAMPLETIME_28CYCLES;
  adc.channels[ENGINE_THERMISTANCE_8_ADC_CHANNEL_INDEX].channelNumber = 7;

  adc.channels[ENGINE_UNUSED_1_ADC_CHANNEL_INDEX].errorStatus.bits.notInitialized = 1;
  adc.channels[ENGINE_UNUSED_1_ADC_CHANNEL_INDEX].init = (ADC12Channel_init)ADC12ChannelHAL_init;
  adc.channels[ENGINE_UNUSED_1_ADC_CHANNEL_INDEX].rank = 9;
  adc.channels[ENGINE_UNUSED_1_ADC_CHANNEL_INDEX].sampleTime_adcClockCyles = ADC_SAMPLETIME_28CYCLES;
  adc.channels[ENGINE_UNUSED_1_ADC_CHANNEL_INDEX].channelNumber = 8;

  adc.channels[ENGINE_UNUSED_2_ADC_CHANNEL_INDEX].errorStatus.bits.notInitialized = 1;
  adc.channels[ENGINE_UNUSED_2_ADC_CHANNEL_INDEX].init = (ADC12Channel_init)ADC12ChannelHAL_init;
  adc.channels[ENGINE_UNUSED_2_ADC_CHANNEL_INDEX].rank = 10;
  adc.channels[ENGINE_UNUSED_2_ADC_CHANNEL_INDEX].sampleTime_adcClockCyles = ADC_SAMPLETIME_28CYCLES;
  adc.channels[ENGINE_UNUSED_2_ADC_CHANNEL_INDEX].channelNumber = 9;

  adc.channels[ENGINE_COMBUSTION_CHAMBER_PRESSURE_SENSOR_ADC_CHANNEL_INDEX].errorStatus.bits.notInitialized = 1;
  adc.channels[ENGINE_COMBUSTION_CHAMBER_PRESSURE_SENSOR_ADC_CHANNEL_INDEX].init = (ADC12Channel_init)ADC12ChannelHAL_init;
  adc.channels[ENGINE_COMBUSTION_CHAMBER_PRESSURE_SENSOR_ADC_CHANNEL_INDEX].rank = 11;
  adc.channels[ENGINE_COMBUSTION_CHAMBER_PRESSURE_SENSOR_ADC_CHANNEL_INDEX].sampleTime_adcClockCyles = ADC_SAMPLETIME_28CYCLES;
  adc.channels[ENGINE_COMBUSTION_CHAMBER_PRESSURE_SENSOR_ADC_CHANNEL_INDEX].channelNumber = 10;

  adc.channels[ENGINE_NOS_TANK_PRESSURE_SENSOR_ADC_CHANNEL_INDEX].errorStatus.bits.notInitialized = 1;
  adc.channels[ENGINE_NOS_TANK_PRESSURE_SENSOR_ADC_CHANNEL_INDEX].init = (ADC12Channel_init)ADC12ChannelHAL_init;
  adc.channels[ENGINE_NOS_TANK_PRESSURE_SENSOR_ADC_CHANNEL_INDEX].rank = 12;
  adc.channels[ENGINE_NOS_TANK_PRESSURE_SENSOR_ADC_CHANNEL_INDEX].sampleTime_adcClockCyles = ADC_SAMPLETIME_28CYCLES;
  adc.channels[ENGINE_NOS_TANK_PRESSURE_SENSOR_ADC_CHANNEL_INDEX].channelNumber = 11;

  adc.channels[ENGINE_UNUSED_3_ADC_CHANNEL_INDEX].errorStatus.bits.notInitialized = 1;
  adc.channels[ENGINE_UNUSED_3_ADC_CHANNEL_INDEX].init = (ADC12Channel_init)ADC12ChannelHAL_init;
  adc.channels[ENGINE_UNUSED_3_ADC_CHANNEL_INDEX].rank = 13;
  adc.channels[ENGINE_UNUSED_3_ADC_CHANNEL_INDEX].sampleTime_adcClockCyles = ADC_SAMPLETIME_28CYCLES;
  adc.channels[ENGINE_UNUSED_3_ADC_CHANNEL_INDEX].channelNumber = 12;

  adc.channels[ENGINE_UNUSED_4_ADC_CHANNEL_INDEX].errorStatus.bits.notInitialized = 1;
  adc.channels[ENGINE_UNUSED_4_ADC_CHANNEL_INDEX].init = (ADC12Channel_init)ADC12ChannelHAL_init;
  adc.channels[ENGINE_UNUSED_4_ADC_CHANNEL_INDEX].rank = 14;
  adc.channels[ENGINE_UNUSED_4_ADC_CHANNEL_INDEX].sampleTime_adcClockCyles = ADC_SAMPLETIME_28CYCLES;
  adc.channels[ENGINE_UNUSED_4_ADC_CHANNEL_INDEX].channelNumber = 13;

  adc.channels[ENGINE_UNUSED_5_ADC_CHANNEL_INDEX].errorStatus.bits.notInitialized = 1;
  adc.channels[ENGINE_UNUSED_5_ADC_CHANNEL_INDEX].init = (ADC12Channel_init)ADC12ChannelHAL_init;
  adc.channels[ENGINE_UNUSED_5_ADC_CHANNEL_INDEX].rank = 15;
  adc.channels[ENGINE_UNUSED_5_ADC_CHANNEL_INDEX].sampleTime_adcClockCyles = ADC_SAMPLETIME_28CYCLES;
  adc.channels[ENGINE_UNUSED_5_ADC_CHANNEL_INDEX].channelNumber = 14;

  adc.channels[ENGINE_UNUSED_6_ADC_CHANNEL_INDEX].errorStatus.bits.notInitialized = 1;
  adc.channels[ENGINE_UNUSED_6_ADC_CHANNEL_INDEX].init = (ADC12Channel_init)ADC12ChannelHAL_init;
  adc.channels[ENGINE_UNUSED_6_ADC_CHANNEL_INDEX].rank = 16;
  adc.channels[ENGINE_UNUSED_6_ADC_CHANNEL_INDEX].sampleTime_adcClockCyles = ADC_SAMPLETIME_28CYCLES;
  adc.channels[ENGINE_UNUSED_6_ADC_CHANNEL_INDEX].channelNumber = 15;
}

void setupUART() {
  uart.errorStatus.bits.notInitialized = 1;
  uart.init = (UART_init)UARTHAL_init;
  uart.externalHandle = &huart1;
}

void setupValves() {
  for (uint8_t i = 0; i < ENGINE_VALVE_AMOUNT; i++) {
    valves[i].errorStatus.bits.notInitialized = 1;
    valves[i].init = (Valve_init)HBL388_init;
  }
}

void setupIgniters() {
  for (uint8_t i = 0; i < ENGINE_IGNITER_AMOUNT; i++) {
    igniters[i].errorStatus.bits.notInitialized = 1;
    igniters[i].init = (Igniter_init)EstesC6_init;
  }
}

void setupHeaters() {
  for (uint8_t i = 0; i < ENGINE_HEATPAD_AMOUNT; i++) {
    heaters[i].errorStatus.bits.notInitialized = 1;
    heaters[i].init = (Heater_init)FTVOGUEanpih0ztre_init;
  }
}

void setupTemperatureSensors() {
  for (uint8_t i = 0; i < ENGINE_TEMPERATURE_SENSOR_AMOUNT; i++) {
    temperatureSensors[i].errorStatus.bits.notInitialized = 1;
    temperatureSensors[i].init = (TemperatureSensor_init)NTC3950_init;
  }
}

void setupTelecommunication(){
  for (uint8_t i = 0; i < ENGINE_TELECOMMUNICATION_AMOUNT; i++) {
    telecomunication[i].errorStatus.bits.notInitialized = 1;
    telecomunication[i].init = (Telecommunication_init)XBEE_init;
  }

}

void setupPressureSensors() {
  for (uint8_t i = 0; i < ENGINE_PRESSURE_SENSOR_AMOUNT; i++) {
    pressureSensors[i].errorStatus.bits.notInitialized = 1;
    pressureSensors[i].init = (PressureSensor_init)ETM375_init;
  }
}

void setupStorageDevices() {
  for (uint8_t i = 0; i < ENGINE_STORAGE_AMOUNT; i++) {
    storageDevices[i].errorStatus.bits.notInitialized = 1;
  }

  storageDevices[ENGINE_STORAGE_SD_CARD_INDEX].init = (Storage_init)SDCard_init;
  storageDevices[ENGINE_STORAGE_SD_CARD_INDEX].externalInstance = &hsd;
  storageDevices[ENGINE_STORAGE_SD_CARD_INDEX].fs = &SDFatFS;
  storageDevices[ENGINE_STORAGE_SD_CARD_INDEX].volumePath = SDPath;

  storageDevices[ENGINE_STORAGE_EXTERNAL_FLASH_INDEX].init = (Storage_init)ExternalFlash_init;
}

/* USER CODE END 4 */

void Error_Handler(void)
{
  __disable_irq();
  while (1)
  {
  }
}
